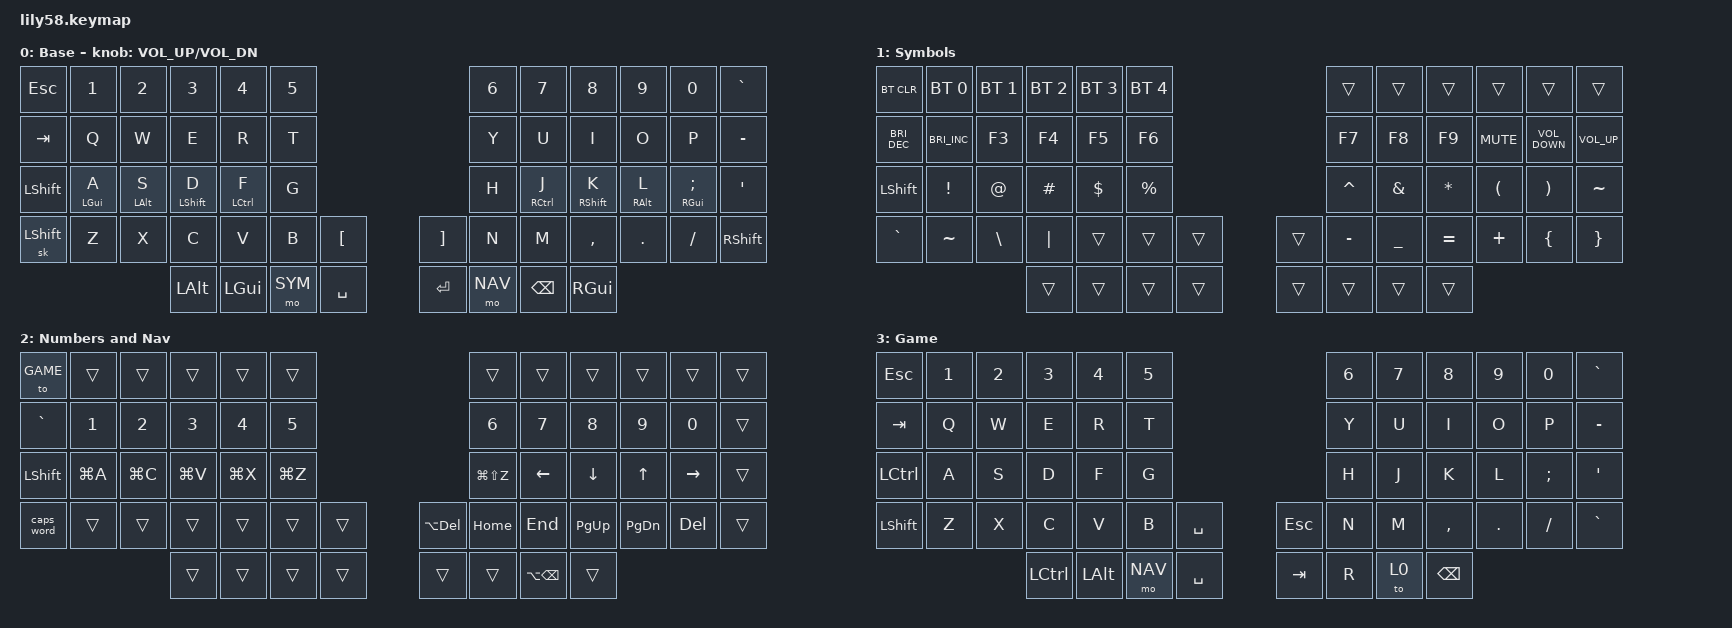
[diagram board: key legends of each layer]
/*
 * Lily58 programmer QWERTY keymap with a dedicated gaming layer.
 */

#include <behaviors.dtsi>
#include <dt-bindings/zmk/bt.h>
#include <dt-bindings/zmk/keys.h>

#define SYM 1
#define NAV 2
#define GAME 3

/ {
    behaviors {
        HMR: HMR {
            compatible = "zmk,behavior-hold-tap";
            label = "HMR";
            bindings = <&kp>, <&kp>;

            #binding-cells = <2>;
            flavor = "tap-preferred";
            tapping-term-ms = <200>;
            quick-tap-ms = <200>;
            require-prior-idle-ms = <250>;
        };
    };

    keymap {
        compatible = "zmk,keymap";

        base_layer {
            display-name = "Base";
            bindings = <
                // ------------------------------------------------------------------------------------------------------
                // | ESC  |  1  |  2  |  3  |  4  |  5  |          |  6  |  7  |  8  |  9  |  0  |  `   |
                // | TAB  |  Q  |  W  |  E  |  R  |  T  |          |  Y  |  U  |  I  |  O  |  P  |  -   |
                // | SHFT |  A  |  S  |  D  |  F  |  G  |          |  H  |  J  |  K  |  L  |  ;  |  '   |
                // | STSH |  Z  |  X  |  C  |  V  |  B  |  [  |  ]  |  N  |  M  |  ,  |  .  |  /  | SHFT|
                //                     | ALT | GUI | SYM | SPC |  | ENT | NAV | BSPC| GUI |
                &kp ESC       &kp N1        &kp N2        &kp N3        &kp N4        &kp N5                         &kp N6        &kp N7        &kp N8        &kp N9        &kp N0        &kp GRAVE
                &kp TAB       &kp Q         &kp W         &kp E         &kp R         &kp T                          &kp Y         &kp U         &kp I         &kp O         &kp P         &kp MINUS
                &kp LSHFT     &HMR LGUI A   &HMR LALT S   &HMR LSHFT D   &HMR LCTRL F   &kp G                          &kp H         &HMR RCTRL J  &HMR RSHFT K  &HMR RALT L   &HMR RGUI SEMI &kp SQT
                &sk LSHFT     &kp Z         &kp X         &kp C         &kp V         &kp B        &kp LBKT    &kp RBKT    &kp N         &kp M         &kp COMMA     &kp DOT       &kp FSLH      &kp RSHFT
                                                              &kp LALT      &kp LGUI      &mo SYM      &kp SPACE     &kp RET      &mo NAV      &kp BSPC      &kp RGUI
            >;

            sensor-bindings = <&inc_dec_kp C_VOL_UP C_VOL_DN>;
        };

        sym_layer {
            display-name = "Symbols";
            bindings = <
                // ------------------------------------------------------------------------------------------------------
                // | BTCLR| BT1 | BT2 | BT3 | BT4 | BT5 |          |     |     |     |     |     |     |
                // | BRI- | BRI+| F3  | F4  | F5  | F6  |          | F7  | F8  | F9  | MUTE| VOL- | VOL+|
                // | SHFT |  !  |  @  |  #  |  $  |  %  |          |  ^  |  &  |  *  |  (  |  )  |  ~  |
                // |  `   |  ~  |  \  |  |  |     |     |     |     |  -  |  _  |  =  |  +  |  {  |  }  |
                //                     |     |     |     |     |  |     |     |     |     |
                &bt BT_CLR    &bt BT_SEL 0 &bt BT_SEL 1 &bt BT_SEL 2 &bt BT_SEL 3 &bt BT_SEL 4                    &trans       &trans       &trans       &trans       &trans       &trans
                &kp C_BRIGHTNESS_DEC &kp C_BRIGHTNESS_INC &kp F3 &kp F4 &kp F5 &kp F6                         &kp F7       &kp F8       &kp F9       &kp C_MUTE  &kp C_VOLUME_DOWN &kp C_VOLUME_UP
                &kp LSHFT     &kp EXCL     &kp AT        &kp HASH     &kp DLLR      &kp PRCNT                    &kp CARET    &kp AMPS     &kp ASTERISK  &kp LPAR     &kp RPAR     &kp TILDE
                &kp GRAVE     &kp TILDE    &kp BSLH      &kp PIPE     &trans       &trans       &trans       &trans       &kp MINUS   &kp UNDER    &kp EQUAL    &kp PLUS     &kp LBRC    &kp RBRC
                                                              &trans       &trans       &trans       &trans       &trans       &trans       &trans       &trans
            >;
        };

        nav_layer {
            display-name = "Numbers and Nav";
            bindings = <
                // ------------------------------------------------------------------------------------------------------
                // | GAME |     |     |     |     |     |          |     |     |     |     |     |     |
                // |  `   |  1  |  2  |  3  |  4  |  5  |          |  6  |  7  |  8  |  9  |  0  |     |
                // | SHFT | C-A | C-C | C-V | C-X | C-Z |          | R-Z |  <- |  v  |  ^  |  -> |     |
                // | CAPS |     |     |     |     |     |     |     | WDEL| HOME| END | PGUP| PGDN| DEL |
                //                     |     |     |     |     |  |     |     | WDBS|     |
                &to GAME      &trans       &trans       &trans       &trans       &trans                         &trans       &trans       &trans       &trans       &trans       &trans
                &kp GRAVE     &kp N1       &kp N2       &kp N3       &kp N4       &kp N5                         &kp N6       &kp N7       &kp N8       &kp N9       &kp N0       &trans
                &kp LSHFT     &kp LG(A)    &kp LG(C)    &kp LG(V)    &kp LG(X)    &kp LG(Z)                      &kp LG(LS(Z)) &kp LEFT     &kp DOWN     &kp UP       &kp RIGHT    &trans
                &caps_word    &trans       &trans       &trans       &trans       &trans       &trans       &kp LA(DEL) &kp HOME   &kp END      &kp PG_UP    &kp PG_DN    &kp DEL      &trans
                                                              &trans       &trans       &trans       &trans       &trans       &trans       &kp LA(BSPC) &trans
            >;
        };

        game_layer {
            display-name = "Game";
            bindings = <
                // ------------------------------------------------------------------------------------------------------
                // | ESC  |  1  |  2  |  3  |  4  |  5  |          |  6  |  7  |  8  |  9  |  0  |  `   |
                // | TAB  |  Q  |  W  |  E  |  R  |  T  |          |  Y  |  U  |  I  |  O  |  P  |  -   |
                // | CTRL |  A  |  S  |  D  |  F  |  G  |          |  H  |  J  |  K  |  L  |  ;  |  '   |
                // | SHFT |  Z  |  X  |  C  |  V  |  B  | SPC| ESC|  N  |  M  |  ,  |  .  |  /  |  `   |
                //                     | CTRL| ALT | NAV | SPC |  | TAB |  R  | EXIT| BSPC|
                &kp ESC       &kp N1        &kp N2        &kp N3        &kp N4        &kp N5                         &kp N6        &kp N7        &kp N8        &kp N9        &kp N0        &kp GRAVE
                &kp TAB       &kp Q         &kp W         &kp E         &kp R         &kp T                          &kp Y         &kp U         &kp I         &kp O         &kp P         &kp MINUS
                &kp LCTRL     &kp A         &kp S         &kp D         &kp F         &kp G                          &kp H         &kp J         &kp K         &kp L         &kp SEMI      &kp SQT
                &kp LSHFT     &kp Z         &kp X         &kp C         &kp V         &kp B        &kp SPACE    &kp ESC      &kp N         &kp M         &kp COMMA     &kp DOT       &kp FSLH      &kp GRAVE
                                                              &kp LCTRL     &kp LALT      &mo NAV      &kp SPACE     &kp TAB      &kp R         &to 0         &kp BSPC
            >;
        };

        extra_2 { status = "reserved"; };
        extra_3 { status = "reserved"; };
    };
};
